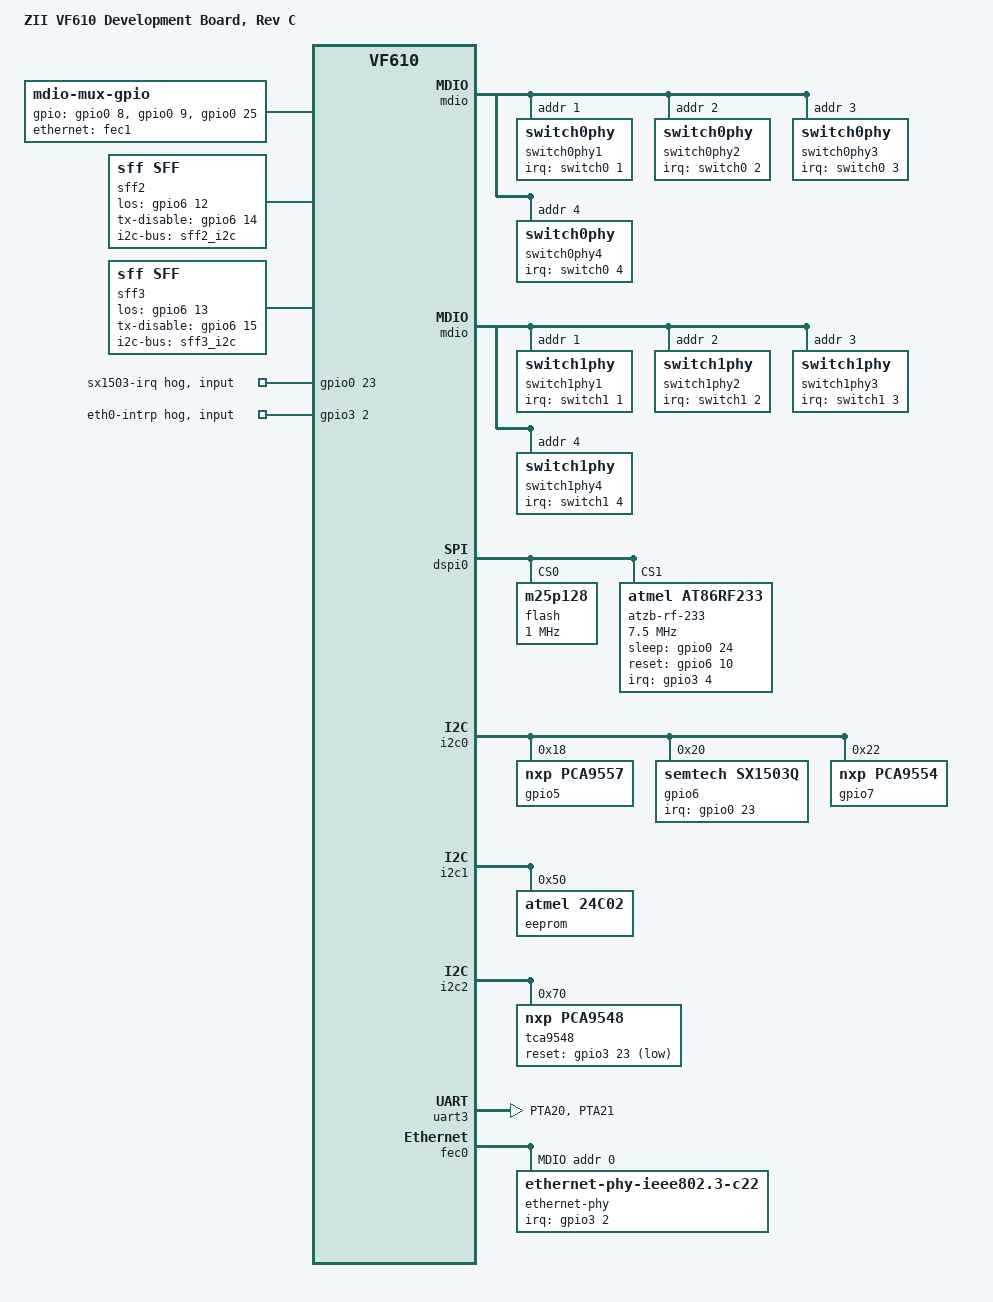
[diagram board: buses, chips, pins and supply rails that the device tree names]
// SPDX-License-Identifier: (GPL-2.0 OR MIT)
/*
 * Copyright (C) 2015, 2016 Zodiac Inflight Innovations
 */

/dts-v1/;
#include "vf610-zii-dev.dtsi"

/ {
	model = "ZII VF610 Development Board, Rev C";
	compatible = "zii,vf610dev-c", "zii,vf610dev", "fsl,vf610";

	mdio-mux {
		compatible = "mdio-mux-gpio";
		pinctrl-0 = <&pinctrl_mdio_mux>;
		pinctrl-names = "default";
		gpios = <&gpio0 8  GPIO_ACTIVE_HIGH
			 &gpio0 9  GPIO_ACTIVE_HIGH
			 &gpio0 25 GPIO_ACTIVE_HIGH>;
		mdio-parent-bus = <&mdio1>;
		#address-cells = <1>;
		#size-cells = <0>;

		mdio_mux_1: mdio@1 {
			reg = <1>;
			#address-cells = <1>;
			#size-cells = <0>;

			switch0: switch@0 {
				compatible = "marvell,mv88e6190";
				pinctrl-0 = <&pinctrl_gpio_switch0>;
				pinctrl-names = "default";
				reg = <0>;
				dsa,member = <0 0>;
				eeprom-length = <65536>;
				interrupt-parent = <&gpio0>;
				interrupts = <27 IRQ_TYPE_LEVEL_LOW>;
				interrupt-controller;
				#interrupt-cells = <2>;

				ports {
					#address-cells = <1>;
					#size-cells = <0>;

					port@0 {
						reg = <0>;
						label = "cpu";
						ethernet = <&fec1>;

						fixed-link {
							speed = <100>;
							full-duplex;
						};
					};

					port@1 {
						reg = <1>;
						label = "lan1";
						phy-handle = <&switch0phy1>;
					};

					port@2 {
						reg = <2>;
						label = "lan2";
						phy-handle = <&switch0phy2>;
					};

					port@3 {
						reg = <3>;
						label = "lan3";
						phy-handle = <&switch0phy3>;
					};

					port@4 {
						reg = <4>;
						label = "lan4";
						phy-handle = <&switch0phy4>;
					};

					switch0port10: port@10 {
						reg = <10>;
						label = "dsa";
						phy-mode = "xaui";
						link = <&switch1port10>;
					};
				};

				mdio {
					#address-cells = <1>;
					#size-cells = <0>;

					switch0phy1: switch0phy@1 {
						reg = <1>;
						interrupt-parent = <&switch0>;
						interrupts = <1 IRQ_TYPE_LEVEL_HIGH>;
					};

					switch0phy2: switch0phy@2 {
						reg = <2>;
						interrupt-parent = <&switch0>;
						interrupts = <2 IRQ_TYPE_LEVEL_HIGH>;
					};

					switch0phy3: switch0phy@3 {
						reg = <3>;
						interrupt-parent = <&switch0>;
						interrupts = <3 IRQ_TYPE_LEVEL_HIGH>;
					};

					switch0phy4: switch0phy@4 {
						reg = <4>;
						interrupt-parent = <&switch0>;
						interrupts = <4 IRQ_TYPE_LEVEL_HIGH>;
					};
				};
			};
		};

		mdio_mux_2: mdio@2 {
			reg = <2>;
			#address-cells = <1>;
			#size-cells = <0>;

			switch1: switch@0 {
				compatible = "marvell,mv88e6190";
				pinctrl-0 = <&pinctrl_gpio_switch1>;
				pinctrl-names = "default";
				reg = <0>;
				dsa,member = <0 1>;
				eeprom-length = <65536>;
				interrupt-parent = <&gpio0>;
				interrupts = <26 IRQ_TYPE_LEVEL_LOW>;
				interrupt-controller;
				#interrupt-cells = <2>;

				ports {
					#address-cells = <1>;
					#size-cells = <0>;

					port@1 {
						reg = <1>;
						label = "lan5";
						phy-handle = <&switch1phy1>;
					};

					port@2 {
						reg = <2>;
						label = "lan6";
						phy-handle = <&switch1phy2>;
					};

					port@3 {
						reg = <3>;
						label = "lan7";
						phy-handle = <&switch1phy3>;
					};

					port@4 {
						reg = <4>;
						label = "lan8";
						phy-handle = <&switch1phy4>;
					};

					port@9 {
						reg = <9>;
						label = "sff2";
						phy-mode = "sgmii";
						managed = "in-band-status";
						sfp = <&sff2>;
					};

					switch1port10: port@10 {
						reg = <10>;
						label = "dsa";
						phy-mode = "xaui";
						link = <&switch0port10>;
					};
				};
				mdio {
					#address-cells = <1>;
					#size-cells = <0>;

					switch1phy1: switch1phy@1 {
						reg = <1>;
						interrupt-parent = <&switch1>;
						interrupts = <1 IRQ_TYPE_LEVEL_HIGH>;
					};

					switch1phy2: switch1phy@2 {
						reg = <2>;
						interrupt-parent = <&switch1>;
						interrupts = <2 IRQ_TYPE_LEVEL_HIGH>;
					};

					switch1phy3: switch1phy@3 {
						reg = <3>;
						interrupt-parent = <&switch1>;
						interrupts = <3 IRQ_TYPE_LEVEL_HIGH>;
					};

					switch1phy4: switch1phy@4 {
						reg = <4>;
						interrupt-parent = <&switch1>;
						interrupts = <4 IRQ_TYPE_LEVEL_HIGH>;
					};
				};
			};
		};

		mdio_mux_4: mdio@4 {
			reg = <4>;
			#address-cells = <1>;
			#size-cells = <0>;
		};
	};

	sff2: sff2 {
		/* lower */
		compatible = "sff,sff";
		i2c-bus = <&sff2_i2c>;
		los-gpios = <&gpio6 12 GPIO_ACTIVE_HIGH>;
		tx-disable-gpios = <&gpio6 14 GPIO_ACTIVE_HIGH>;
	};

	sff3: sff3 {
		/* upper */
		compatible = "sff,sff";
		i2c-bus = <&sff3_i2c>;
		los-gpios = <&gpio6 13 GPIO_ACTIVE_HIGH>;
		tx-disable-gpios = <&gpio6 15 GPIO_ACTIVE_HIGH>;
	};
};

&dspi0 {
	bus-num = <0>;
	pinctrl-names = "default";
	pinctrl-0 = <&pinctrl_dspi0>;
	status = "okay";
	spi-num-chipselects = <2>;

	flash@0 {
		compatible = "m25p128", "jedec,spi-nor";
		#address-cells = <1>;
		#size-cells = <1>;
		reg = <0>;
		spi-max-frequency = <1000000>;
	};

	atzb-rf-233@1 {
		compatible = "atmel,at86rf233";

		pinctrl-names = "default";
		pinctrl-0 = <&pinctr_atzb_rf_233>;

		spi-max-frequency = <7500000>;
		reg = <1>;
		interrupts = <4 IRQ_TYPE_LEVEL_HIGH>;
		interrupt-parent = <&gpio3>;
		xtal-trim = /bits/ 8 <0x06>;

		sleep-gpio = <&gpio0 24 GPIO_ACTIVE_HIGH>;
		reset-gpio = <&gpio6 10 GPIO_ACTIVE_HIGH>;

		fsl,spi-cs-sck-delay = <180>;
		fsl,spi-sck-cs-delay = <250>;
	};
};

&i2c0 {
	/*
	 * U712
	 *
	 * Exposed signals:
	 *    P1 - WE2_CMD
	 *    P2 - WE2_CLK
	 */
	gpio5: io-expander@18 {
		compatible = "nxp,pca9557";
		reg = <0x18>;
		gpio-controller;
		#gpio-cells = <2>;
	};

	/*
	 * U121
	 *
	 * Exposed signals:
	 *    I/O0  - ENET_SWR_EN
	 *    I/O1  - ESW1_RESETn
	 *    I/O2  - ARINC_RESET
	 *    I/O3  - DD1_IO_RESET
	 *    I/O4  - ESW2_RESETn
	 *    I/O5  - ESW3_RESETn
	 *    I/O6  - ESW4_RESETn
	 *    I/O8  - TP909
	 *    I/O9  - FEM_SEL
	 *    I/O10 - WIFI_RESETn
	 *    I/O11 - PHY_RSTn
	 *    I/O12 - OPT1_SD
	 *    I/O13 - OPT2_SD
	 *    I/O14 - OPT1_TX_DIS
	 *    I/O15 - OPT2_TX_DIS
	 */
	gpio6: sx1503@20 {
		compatible = "semtech,sx1503q";

		pinctrl-names = "default";
		pinctrl-0 = <&pinctrl_sx1503_20>;
		#gpio-cells = <2>;
		#interrupt-cells = <2>;
		reg = <0x20>;
		interrupt-parent = <&gpio0>;
		interrupts = <23 IRQ_TYPE_EDGE_FALLING>;
		gpio-controller;
		interrupt-controller;
	};

	/*
	 * U715
	 *
	 * Exposed signals:
	 *     IO0 - WE1_CLK
	 *     IO1 - WE1_CMD
	 */
	gpio7: io-expander@22 {
		compatible = "nxp,pca9554";
		reg = <0x22>;
		gpio-controller;
		#gpio-cells = <2>;

	};
};

&i2c1 {
	eeprom@50 {
		compatible = "atmel,24c02";
		reg = <0x50>;
		read-only;
	};
};

&i2c2 {
	tca9548@70 {
		compatible = "nxp,pca9548";
		pinctrl-0 = <&pinctrl_i2c_mux_reset>;
		pinctrl-names = "default";
		#address-cells = <1>;
		#size-cells = <0>;
		reg = <0x70>;
		reset-gpios = <&gpio3 23 GPIO_ACTIVE_LOW>;

		i2c@0 {
			#address-cells = <1>;
			#size-cells = <0>;
			reg = <0>;
		};

		sff2_i2c: i2c@1 {
			#address-cells = <1>;
			#size-cells = <0>;
			reg = <1>;
		};

		sff3_i2c: i2c@2 {
			#address-cells = <1>;
			#size-cells = <0>;
			reg = <2>;
		};

		i2c@3 {
			#address-cells = <1>;
			#size-cells = <0>;
			reg = <3>;
		};
	};
};

&uart3 {
	pinctrl-names = "default";
	pinctrl-0 = <&pinctrl_uart3>;
	status = "okay";
};

&gpio0 {
	eth0_intrp {
		gpio-hog;
		gpios = <23 GPIO_ACTIVE_HIGH>;
		input;
		line-name = "sx1503-irq";
	};
};

&gpio3 {
	eth0_intrp {
		gpio-hog;
		gpios = <2 GPIO_ACTIVE_HIGH>;
		input;
		line-name = "eth0-intrp";
	};
};

&fec0 {
	mdio {
		#address-cells = <1>;
		#size-cells = <0>;
		status = "okay";

		ethernet-phy@0 {
			compatible = "ethernet-phy-ieee802.3-c22";

			pinctrl-names = "default";
			pinctrl-0 = <&pinctrl_fec0_phy_int>;

			interrupt-parent = <&gpio3>;
			interrupts = <2 IRQ_TYPE_LEVEL_LOW>;
			reg = <0>;
		};
	};
};

&iomuxc {
	pinctr_atzb_rf_233: pinctrl-atzb-rf-233 {
		fsl,pins = <
			VF610_PAD_PTB2__GPIO_24		0x31c2
			VF610_PAD_PTE27__GPIO_132	0x33e2
		>;
	};


	pinctrl_sx1503_20: pinctrl-sx1503-20 {
		fsl,pins = <
			VF610_PAD_PTB1__GPIO_23		0x219d
		>;
	};

	pinctrl_uart3: uart3grp {
		fsl,pins = <
			VF610_PAD_PTA20__UART3_TX	0x21a2
			VF610_PAD_PTA21__UART3_RX	0x21a1
		>;
	};

	pinctrl_mdio_mux: pinctrl-mdio-mux {
		fsl,pins = <
			VF610_PAD_PTA18__GPIO_8		0x31c2
			VF610_PAD_PTA19__GPIO_9		0x31c2
			VF610_PAD_PTB3__GPIO_25		0x31c2
		>;
	};

	pinctrl_fec0_phy_int: pinctrl-fec0-phy-int {
		fsl,pins = <
			VF610_PAD_PTB28__GPIO_98	0x219d
		>;
	};
};
